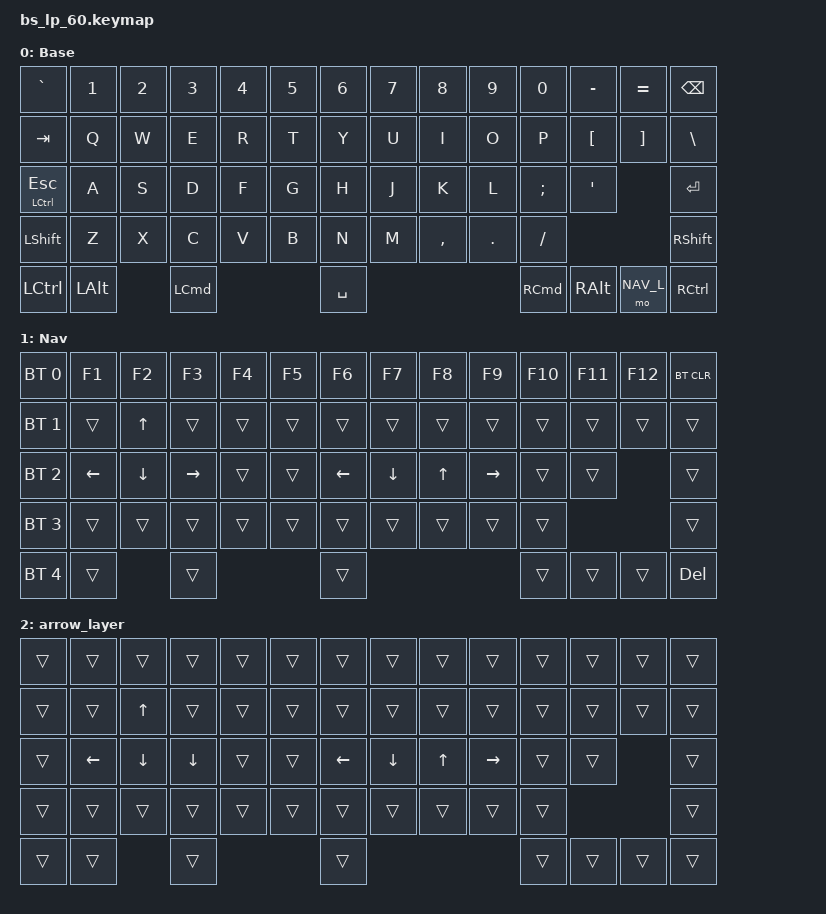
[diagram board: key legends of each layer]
/*
 * Copyright (c) 2021 Cole Smith
 *
 * SPDX-License-Identifier: MIT
 */

#include <dt-bindings/zmk/reset.h>
#include <behaviors.dtsi>
#include <dt-bindings/zmk/bt.h>
#include <dt-bindings/zmk/keys.h>

#define BAS_L 0
#define NAV_L 1

/ {
    behaviors {
        hold_or_tap: hold_or_tap {
            compatible = "zmk,behavior-hold-tap";
            label = "HOLD_OR_TAP";
            bindings = <&kp>, <&kp>;

            #binding-cells = <2>;
            tapping-term-ms = <200>;
            hold-trigger-key-positions = <28>;
        };

        mod_or_tap: mod_or_tap {
            compatible = "zmk,behavior-hold-tap";
            label = "MOD_OR_TAP";
            bindings = <&mo>, <&kp>;

            #binding-cells = <2>;
            tapping-term-ms = <200>;
        };
    };

    keymap {
        compatible = "zmk,keymap";

        default_layer {
            // ------------------------------------------------------------------------------------------
            // | ESC |  1  |  2  |  3  |  4  |  5  |  6  |  7  |  8  |  9  |  0  |  -  |  =  |   BKSP   |
            // | TAB  |  Q  |  W  |  E  |  R  |  T  |  Y  |  U  |  I  |  O  |  P  |  [  |  ]  |   "|"   |
            // | CAPS  |  A  |  S  |  D  |  F  |  G  |  H  |  J  |  K  |  L  |  ;  |  '  |     ENTER    |
            // |  SHIFT  |  Z  |  X  |  C  |  V  |  B  |  N  |  M  |  ,  |  .  |  /  |      SHIFT       |
            // |  CTL  |  WIN  |  ALT  |            SPACE              |  ALT  |  WIN  |  MO(1) |  CTL  |
            // ------------------------------------------------------------------------------------------

            label = "Base";
            bindings = <
&kp GRAVE                      &kp N1        &kp N2  &kp N3            &kp N4  &kp N5  &kp N6     &kp N7  &kp N8     &kp N9   &kp N0             &kp MINUS      &kp EQUAL  &kp BSPC
&kp TAB                        &kp Q         &kp W   &kp E             &kp R   &kp T   &kp Y      &kp U   &kp I      &kp O    &kp P              &kp LBKT       &kp RBKT   &kp BSLH
&hold_or_tap LEFT_CONTROL ESC  &kp A         &kp S   &kp D             &kp F   &kp G   &kp H      &kp J   &kp K      &kp L    &kp SEMI           &kp SQT                   &kp RET
&kp LSHFT                      &kp Z         &kp X   &kp C             &kp V   &kp B   &kp N      &kp M   &kp COMMA  &kp DOT  &kp FSLH                                     &kp RSHFT
&kp LCTRL                      &kp LEFT_ALT          &kp LEFT_COMMAND                  &kp SPACE                              &kp RIGHT_COMMAND  &kp RIGHT_ALT  &mo NAV_L  &kp RCTRL
            >;
        };

        ble_layer {
            // ------------------------------------------------------------------------------------------------
            // | BT CLR | F1  | F2  | F3  | F4  | F5  | F6  | F7  | F8  | F9  | F10  | F11 | F12 |            |
            // |  BT 1   |   |  UP |   |       |       |       |       |   |     |    |     |     |           |
            // |   BT 2   | LT |  DN  | RT |       |       |       |       |   |     |   |     |              |
            // |    BT 3     |     |      |      |     |     |     |     |     |     |     |                  |
            // |   BT 4  |      |      |                                    | PRT SCR |       |       |  DEL  |
            // ------------------------------------------------------------------------------------------------

            label = "Nav";
            bindings = <
&bt BT_SEL 0  &kp F1    &kp F2    &kp F3     &kp F4  &kp F5  &kp F6    &kp F7    &kp F8  &kp F9     &kp F10  &kp F11  &kp F12  &bt BT_CLR
&bt BT_SEL 1  &trans    &kp UP    &trans     &trans  &trans  &trans    &trans    &trans  &trans     &trans   &trans   &trans   &trans
&bt BT_SEL 2  &kp LEFT  &kp DOWN  &kp RIGHT  &trans  &trans  &kp LEFT  &kp DOWN  &kp UP  &kp RIGHT  &trans   &trans            &trans
&bt BT_SEL 3  &trans    &trans    &trans     &trans  &trans  &trans    &trans    &trans  &trans     &trans                     &trans
&bt BT_SEL 4  &trans              &trans                     &trans                                 &trans   &trans   &trans   &kp DEL
            >;
        };

        arrow_layer {
            bindings = <
&trans  &trans    &trans    &trans    &trans  &trans  &trans    &trans    &trans  &trans     &trans  &trans  &trans  &trans
&trans  &trans    &kp UP    &trans    &trans  &trans  &trans    &trans    &trans  &trans     &trans  &trans  &trans  &trans
&trans  &kp LEFT  &kp DOWN  &kp DOWN  &trans  &trans  &kp LEFT  &kp DOWN  &kp UP  &kp RIGHT  &trans  &trans          &trans
&trans  &trans    &trans    &trans    &trans  &trans  &trans    &trans    &trans  &trans     &trans                  &trans
&trans  &trans              &trans                    &trans                                 &trans  &trans  &trans  &trans
            >;
        };
    };
};
